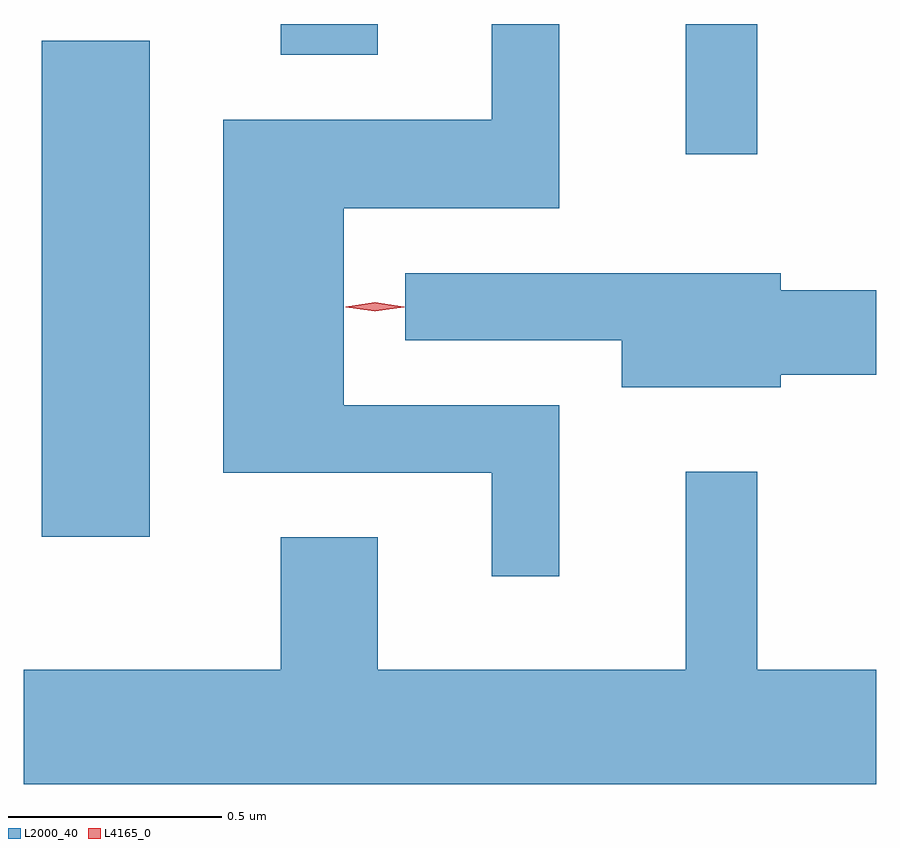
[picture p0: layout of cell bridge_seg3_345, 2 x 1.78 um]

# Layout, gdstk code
import gdstk
lib = gdstk.Library(unit=1e-6, precision=1e-09)
def R(c, l, rs):  # rectangles x0, y0, x1, y1
    for r in rs: c.add(gdstk.rectangle(r[:2], r[2:], *l))
def P(c, l, *ps):  # polygons
    for p in ps: c.add(gdstk.Polygon(p, *l))
L2000_40 = (2000, 40)
L4165_0 = (4165, 0)

bridge_seg3_345 = lib.new_cell('bridge_seg3_345')
R(bridge_seg3_345, L2000_40, [(526.781,1210.956,527.034,1212.119), (528.291,1211.853,528.459,1212.158), (527.341,1212.086,527.569,1212.158)])
P(bridge_seg3_345, L2000_40, [(527.994,1211.264),(527.489,1211.264),(527.489,1211.726),(527.994,1211.726),(527.994,1212.158),(527.836,1212.158),(527.836,1211.934),(527.206,1211.934),(527.206,1211.106),(527.836,1211.106),(527.836,1210.863),(527.994,1210.863)],
  [(528.514,1211.336),(528.738,1211.336),(528.738,1211.534),(528.514,1211.534),(528.514,1211.574),(527.633,1211.574),(527.633,1211.416),(528.141,1211.416),(528.141,1211.306),(528.514,1211.306)],
  [(528.738,1210.644),(528.459,1210.644),(528.459,1211.108),(528.291,1211.108),(528.291,1210.644),(527.569,1210.644),(527.569,1210.954),(527.341,1210.954),(527.341,1210.644),(526.738,1210.644),(526.738,1210.376),(528.738,1210.376)])
P(bridge_seg3_345, L4165_0, [(527.562,1211.485),(527.494,1211.494),(527.493,1211.495),(527.494,1211.495),(527.562,1211.505),(527.631,1211.495),(527.631,1211.495),(527.631,1211.494)],
  [(527.563,1211.485),(527.498,1211.494),(527.498,1211.495),(527.498,1211.495),(527.563,1211.505),(527.627,1211.495),(527.628,1211.495),(527.627,1211.494)])

lib.write_gds('bridge_seg3_345.gds')
